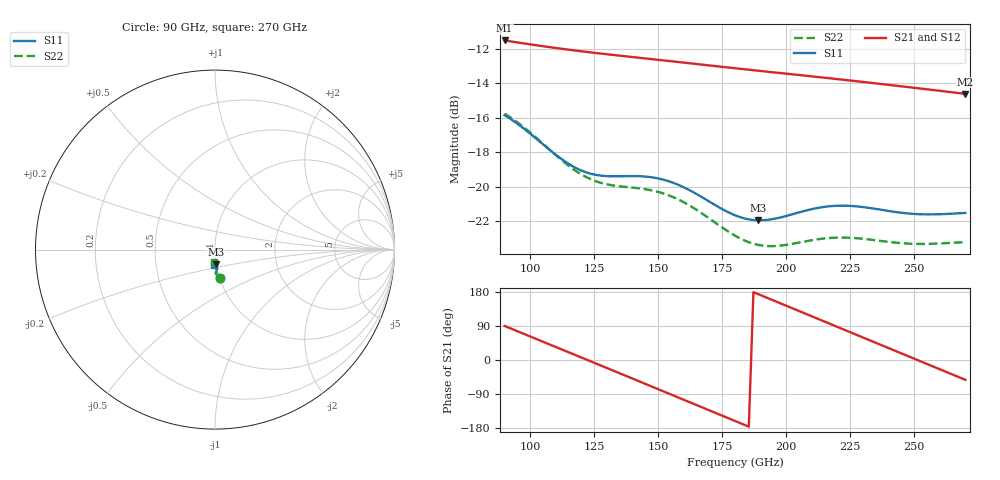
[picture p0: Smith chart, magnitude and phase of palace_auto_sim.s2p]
#  GHZ S DB R 50
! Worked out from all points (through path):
!   101 points, 90 GHz to 270 GHz, reference 50 ohm
!   highest |S21| = -11.50 dB at 90 GHz (marker M1); lowest = -14.6 dB at 270 GHz (marker M2)
!   group delay of S21, straight-line fit = 7.75 ps
!   lowest |S11| = -22.0 dB at 189 GHz (marker M3), VSWR 1.17, Z = 49.8 - j7.99 ohm
!   |S11| at or under -10 dB: start of sweep to end of sweep
!   |S22| runs from -23.5 to -15.8 dB; largest |S21 - S12| = 1.3e-15
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90  -15.84 -80.0  -11.50 89.9  -11.50 89.9  -15.76 -80.6
97.2  -16.59 -83.6  -11.67 69.9  -11.67 69.9  -16.52 -84.8
106.2  -17.69 -86.2  -11.86 44.9  -11.86 44.9  -17.67 -88.3
113.4  -18.52 -86.0  -12.01 24.9  -12.01 24.9  -18.60 -89.0
120.6  -19.10 -84.5  -12.14 4.9  -12.14 4.9  -19.34 -88.1
127.8  -19.37 -82.9  -12.27 -15.1  -12.27 -15.1  -19.79 -86.6
135  -19.40 -82.5  -12.39 -35.2  -12.39 -35.2  -19.98 -86.1
144  -19.41 -84.2  -12.53 -60.3  -12.53 -60.3  -20.13 -87.4
151.2  -19.57 -86.8  -12.65 -80.4  -12.65 -80.4  -20.36 -89.9
163.8  -20.33 -91.1  -12.85 -115.6  -12.85 -115.6  -21.24 -94.3
172.8  -21.12 -91.8  -13.00 -140.8  -13.00 -140.8  -22.15 -95.3
180  -21.67 -90.2  -13.12 -160.9  -13.12 -160.9  -22.85 -94.1
189  -21.96 -86.7  -13.26 174.0  -13.26 174.0  -23.39 -90.5
199.8  -21.72 -83.9  -13.43 143.8  -13.43 143.8  -23.39 -86.7
210.6  -21.29 -84.5  -13.60 113.7  -13.60 113.7  -23.10 -86.1
217.8  -21.13 -86.4  -13.72 93.5  -13.72 93.5  -22.98 -87.2
225  -21.12 -88.5  -13.83 73.4  -13.83 73.4  -22.97 -88.7
232.2  -21.23 -90.3  -13.95 53.2  -13.95 53.2  -23.07 -90.1
241.2  -21.44 -91.7  -14.11 28.1  -14.11 28.1  -23.23 -91.2
248.4  -21.57 -92.1  -14.23 8.0  -14.23 8.0  -23.32 -91.7
255.6  -21.62 -92.3  -14.35 -12.1  -14.35 -12.1  -23.33 -92.3
270  -21.53 -93.5  -14.61 -52.4  -14.61 -52.4  -23.23 -94.8
